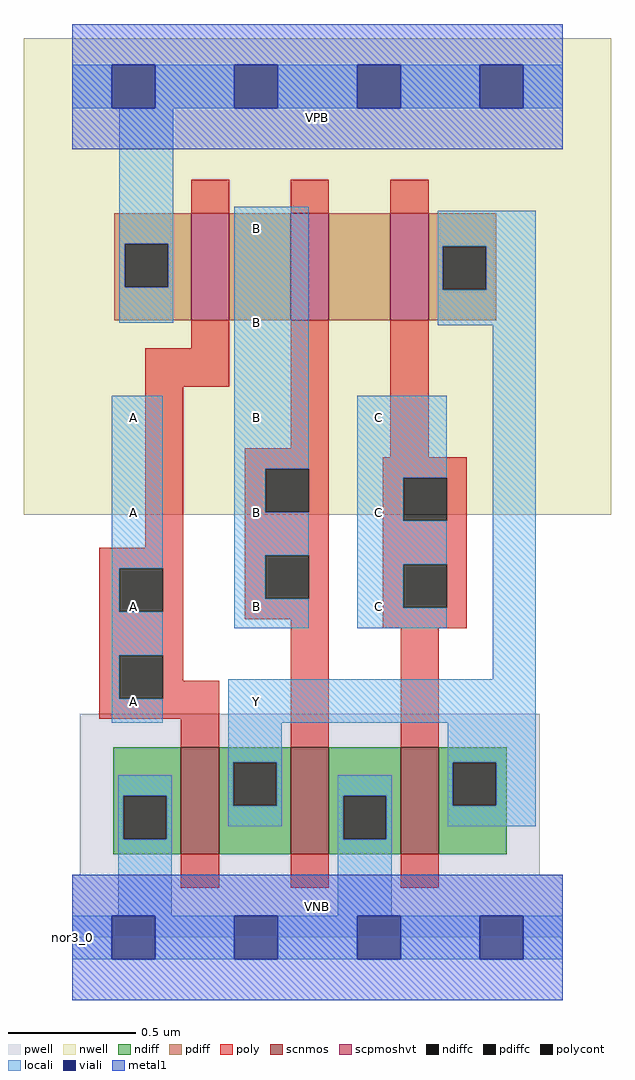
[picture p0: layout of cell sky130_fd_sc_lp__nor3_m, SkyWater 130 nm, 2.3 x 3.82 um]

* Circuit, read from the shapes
.subckt sky130_fd_sc_lp__nor3_m A B C VGND VNB VPB VPWR Y
XM1 Y A VGND VNB sky130_fd_pr__nfet_01v8 w=0.42 l=0.15
XM2 VGND B Y VNB sky130_fd_pr__nfet_01v8 w=0.42 l=0.15
XM3 Y C VGND VNB sky130_fd_pr__nfet_01v8 w=0.42 l=0.15
XM4 n1 A VPWR VPB sky130_fd_pr__pfet_01v8_hvt w=0.42 l=0.15
XM5 n2 B n1 VPB sky130_fd_pr__pfet_01v8_hvt w=0.42 l=0.15
XM6 Y C n2 VPB sky130_fd_pr__pfet_01v8_hvt w=0.42 l=0.15
.ends

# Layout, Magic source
magic
tech sky130A
magscale 1 2
<< nwell >>
rect -38 331 422 704
<< pwell >>
rect 6 49 366 175
rect 0 0 384 49
<< scnmos >>
rect 85 65 115 149
rect 171 65 201 149
rect 257 65 287 149
<< scpmoshvt >>
rect 93 483 123 567
rect 171 483 201 567
rect 249 483 279 567
<< ndiff >>
rect 32 111 85 149
rect 32 77 40 111
rect 74 77 85 111
rect 32 65 85 77
rect 115 137 171 149
rect 115 103 126 137
rect 160 103 171 137
rect 115 65 171 103
rect 201 111 257 149
rect 201 77 212 111
rect 246 77 257 111
rect 201 65 257 77
rect 287 137 340 149
rect 287 103 298 137
rect 332 103 340 137
rect 287 65 340 103
<< pdiff >>
rect 33 543 93 567
rect 33 509 41 543
rect 75 509 93 543
rect 33 483 93 509
rect 123 483 171 567
rect 201 483 249 567
rect 279 541 332 567
rect 279 507 290 541
rect 324 507 332 541
rect 279 483 332 507
<< ndiffc >>
rect 40 77 74 111
rect 126 103 160 137
rect 212 77 246 111
rect 298 103 332 137
<< pdiffc >>
rect 41 509 75 543
rect 290 507 324 541
<< poly >>
rect 93 567 123 593
rect 171 567 201 593
rect 249 567 279 593
rect 93 461 123 483
rect 57 431 123 461
rect 57 305 87 431
rect 171 383 201 483
rect 21 289 87 305
rect 21 255 37 289
rect 71 255 87 289
rect 21 221 87 255
rect 135 367 201 383
rect 249 376 279 483
rect 135 333 151 367
rect 185 333 201 367
rect 135 299 201 333
rect 135 265 151 299
rect 185 265 201 299
rect 135 249 201 265
rect 21 187 37 221
rect 71 201 87 221
rect 71 187 115 201
rect 21 171 115 187
rect 85 149 115 171
rect 171 149 201 249
rect 243 360 309 376
rect 243 326 259 360
rect 293 326 309 360
rect 243 292 309 326
rect 243 258 259 292
rect 293 258 309 292
rect 243 242 309 258
rect 257 149 287 242
rect 85 39 115 65
rect 171 39 201 65
rect 257 39 287 65
<< polycont >>
rect 37 255 71 289
rect 151 333 185 367
rect 151 265 185 299
rect 37 187 71 221
rect 259 326 293 360
rect 259 258 293 292
<< locali >>
rect 0 649 31 683
rect 65 649 127 683
rect 161 649 223 683
rect 257 649 319 683
rect 353 649 384 683
rect 37 543 79 649
rect 37 509 41 543
rect 75 509 79 543
rect 37 481 79 509
rect 31 289 71 424
rect 31 255 37 289
rect 31 221 71 255
rect 127 367 185 572
rect 286 541 363 569
rect 286 507 290 541
rect 324 507 363 541
rect 286 479 363 507
rect 127 333 151 367
rect 127 299 185 333
rect 127 265 151 299
rect 127 242 185 265
rect 223 360 293 424
rect 223 326 259 360
rect 223 292 293 326
rect 223 258 259 292
rect 223 242 293 258
rect 31 187 37 221
rect 329 202 363 479
rect 31 168 71 187
rect 122 168 363 202
rect 122 137 164 168
rect 36 111 78 127
rect 36 77 40 111
rect 74 77 78 111
rect 122 103 126 137
rect 160 103 164 137
rect 294 137 363 168
rect 122 87 164 103
rect 208 111 250 127
rect 36 17 78 77
rect 208 77 212 111
rect 246 77 250 111
rect 294 103 298 137
rect 332 103 363 137
rect 294 87 363 103
rect 208 17 250 77
rect 0 -17 31 17
rect 65 -17 127 17
rect 161 -17 223 17
rect 257 -17 319 17
rect 353 -17 384 17
<< viali >>
rect 31 649 65 683
rect 127 649 161 683
rect 223 649 257 683
rect 319 649 353 683
rect 31 -17 65 17
rect 127 -17 161 17
rect 223 -17 257 17
rect 319 -17 353 17
<< metal1 >>
rect 0 683 384 715
rect 0 649 31 683
rect 65 649 127 683
rect 161 649 223 683
rect 257 649 319 683
rect 353 649 384 683
rect 0 617 384 649
rect 0 17 384 49
rect 0 -17 31 17
rect 65 -17 127 17
rect 161 -17 223 17
rect 257 -17 319 17
rect 353 -17 384 17
rect 0 -49 384 -17
<< labels >>
flabel pwell s 0 0 384 49 0 FreeSans 200 0 0 0 VNB
port 5 nsew ground bidirectional
flabel nwell s 0 617 384 666 0 FreeSans 200 0 0 0 VPB
port 6 nsew power bidirectional
rlabel comment s 0 0 0 0 4 nor3_0
flabel metal1 s 0 617 384 666 0 FreeSans 340 0 0 0 VPWR
port 7 nsew power bidirectional
flabel metal1 s 0 0 384 49 0 FreeSans 340 0 0 0 VGND
port 4 nsew ground bidirectional
flabel locali s 31 168 65 202 0 FreeSans 340 0 0 0 A
port 1 nsew signal input
flabel locali s 31 242 65 276 0 FreeSans 340 0 0 0 A
port 1 nsew signal input
flabel locali s 31 316 65 350 0 FreeSans 340 0 0 0 A
port 1 nsew signal input
flabel locali s 31 390 65 424 0 FreeSans 340 0 0 0 A
port 1 nsew signal input
flabel locali s 127 242 161 276 0 FreeSans 340 0 0 0 B
port 2 nsew signal input
flabel locali s 127 316 161 350 0 FreeSans 340 0 0 0 B
port 2 nsew signal input
flabel locali s 127 390 161 424 0 FreeSans 340 0 0 0 B
port 2 nsew signal input
flabel locali s 127 464 161 498 0 FreeSans 340 0 0 0 B
port 2 nsew signal input
flabel locali s 127 538 161 572 0 FreeSans 340 0 0 0 B
port 2 nsew signal input
flabel locali s 223 242 257 276 0 FreeSans 340 0 0 0 C
port 3 nsew signal input
flabel locali s 223 316 257 350 0 FreeSans 340 0 0 0 C
port 3 nsew signal input
flabel locali s 223 390 257 424 0 FreeSans 340 0 0 0 C
port 3 nsew signal input
flabel locali s 127 168 161 202 0 FreeSans 340 0 0 0 Y
port 8 nsew signal output
<< properties >>
string LEFsite unit
string LEFclass CORE
string FIXED_BBOX 0 0 384 666
string GDS_FILE $PDKPATH/libs.ref/sky130_fd_sc_lp/gds/sky130_fd_sc_lp.gds
string LEFsymmetry X Y R90
string GDS_END 2483210
string GDS_START 2477944
<< end >>
